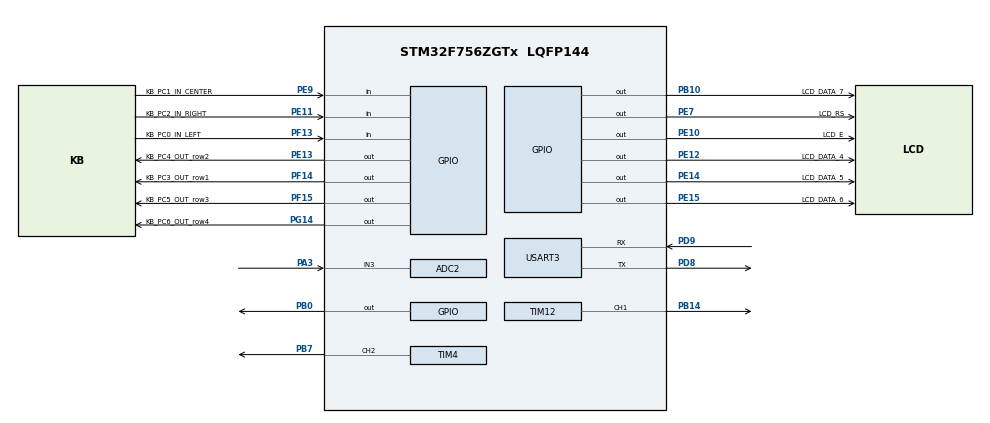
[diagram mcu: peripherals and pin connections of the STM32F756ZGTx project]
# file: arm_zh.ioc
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ADC1.Channel-0\#ChannelRegularConversion=ADC_CHANNEL_TEMPSENSOR
ADC1.NbrOfConversionFlag=1
ADC1.Rank-0\#ChannelRegularConversion=1
ADC1.SamplingTime-0\#ChannelRegularConversion=ADC_SAMPLETIME_3CYCLES
ADC1.master=1
ADC2.Channel-0\#ChannelRegularConversion=ADC_CHANNEL_3
ADC2.NbrOfConversionFlag=1
ADC2.Rank-0\#ChannelRegularConversion=1
ADC2.SamplingTime-0\#ChannelRegularConversion=ADC_SAMPLETIME_3CYCLES
Mcu.Family=STM32F7
Mcu.Name=STM32F756ZGTx
Mcu.Package=LQFP144
NVIC.PriorityGroup=NVIC_PRIORITYGROUP_4
NVIC.TIM4_IRQn=true\:0\:0\:false\:false\:true\:true\:true
NVIC.TIM8_BRK_TIM12_IRQn=true\:0\:0\:false\:false\:true\:true\:true
NVIC.USART3_IRQn=true\:0\:0\:false\:false\:true\:true\:true
PA3.Signal=ADCx_IN3
PB0.Signal=GPIO_Output
PB10.GPIO_Label=LCD_DATA_7
PB10.Signal=GPIO_Output
PB14.Signal=S_TIM12_CH1
PB7.Signal=S_TIM4_CH2
PD8.Mode=Asynchronous
PD8.Signal=USART3_TX
PD9.Mode=Asynchronous
PD9.Signal=USART3_RX
PE10.GPIO_Label=LCD_E
PE10.Signal=GPIO_Output
PE11.GPIO_Label=KB_PC2_IN_RIGHT
PE11.Signal=GPIO_Input
PE12.GPIO_Label=LCD_DATA_4
PE12.Signal=GPIO_Output
PE13.GPIO_Label=KB_PC4_OUT_row2
PE13.Signal=GPIO_Output
PE14.GPIO_Label=LCD_DATA_5
PE14.Signal=GPIO_Output
PE15.GPIO_Label=LCD_DATA_6
PE15.Signal=GPIO_Output
PE7.GPIO_Label=LCD_RS
PE7.Signal=GPIO_Output
PE9.GPIO_Label=KB_PC1_IN_CENTER
PE9.Signal=GPIO_Input
PF13.GPIO_Label=KB_PC0_IN_LEFT
PF13.Signal=GPIO_Input
PF14.GPIO_Label=KB_PC3_OUT_row1
PF14.Signal=GPIO_Output
PF15.GPIO_Label=KB_PC5_OUT_row3
PF15.Signal=GPIO_Output
PG14.GPIO_Label=KB_PC6_OUT_row4
PG14.Signal=GPIO_Output
ProjectManager.HeapSize=0x200
ProjectManager.StackSize=0x400
ProjectManager.TargetToolchain=TrueSTUDIO
RCC.HSE_VALUE=25000000
RCC.HSI_VALUE=16000000
RCC.LSE_VALUE=32768
RCC.USBFreq_Value=96000000
RCC.VCOOutputFreq_Value=192000000
SH.ADCx_IN3.0=ADC2_IN3,IN3
SH.S_TIM12_CH1.0=TIM12_CH1,PWM Generation1 CH1
SH.S_TIM4_CH2.0=TIM4_CH2,PWM Generation2 CH2
TIM12.Channel-PWM\ Generation1\ CH1=TIM_CHANNEL_1
TIM12.Period=100
TIM12.Prescaler=15
TIM12.Pulse-PWM\ Generation1\ CH1=5
TIM4.Channel-PWM\ Generation2\ CH2=TIM_CHANNEL_2
TIM4.Period=100
TIM4.Prescaler=15
TIM4.Pulse-PWM\ Generation2\ CH2=5
USART3.VirtualMode-Asynchronous=VM_ASYNC
VP_ADC1_TempSens_Input.Mode=IN-TempSens
board=custom

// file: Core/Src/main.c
/* USER CODE BEGIN Header */
/**
  ******************************************************************************
  * @file           : main.c
  * @brief          : Main program body
  ******************************************************************************
  * @attention
  *
  * <h2><center>&copy; Copyright (c) 2021 STMicroelectronics.
  * All rights reserved.</center></h2>
  *
  * This software component is licensed by ST under BSD 3-Clause license,
  * the "License"; You may not use this file except in compliance with the
  * License. You may obtain a copy of the License at:
  *                        opensource.org/licenses/BSD-3-Clause
  *
  ******************************************************************************
  */
/* USER CODE END Header */
#include "main.h"

/* USER CODE BEGIN Includes */
#include "lcd.h"
#include "matrix.h"
#include <String.h>
#include <stdlib.h>
/* USER CODE END Includes */

ADC_HandleTypeDef hadc1;
ADC_HandleTypeDef hadc2;

TIM_HandleTypeDef htim4;
TIM_HandleTypeDef htim12;

UART_HandleTypeDef huart3;

/* USER CODE BEGIN PV */
char row1[] = "P1" ;
char row2[] = "   5 6 7 8 9 0 B" ;
char row3[] = "P2" ;
char row4[] = "   5 6 7 8 9 0 B" ;

uint16_t p1_score = 0;
uint16_t p2_score = 0;

uint8_t round_score = 0;
uint8_t szorzo = 1;

uint8_t dobas = 3;

uint8_t player = 1;

uint8_t s15 = 0;
uint8_t s16 = 0;
uint8_t s17 = 0;
uint8_t s18 = 0;
uint8_t s19 = 0;
uint8_t s20 = 0;
uint8_t sb = 0;

uint8_t p1_s15 = 0;
uint8_t p1_s16 = 0;
uint8_t p1_s17 = 0;
uint8_t p1_s18 = 0;
uint8_t p1_s19 = 0;
uint8_t p1_s20 = 0;
uint8_t p1_sb = 0;

uint8_t p2_s15 = 0;
uint8_t p2_s16 = 0;
uint8_t p2_s17 = 0;
uint8_t p2_s18 = 0;
uint8_t p2_s19 = 0;
uint8_t p2_s20 = 0;
uint8_t p2_sb = 0;

/* USER CODE END PV */

void SystemClock_Config(void);
static void MX_GPIO_Init(void);
static void MX_TIM4_Init(void);
static void MX_TIM12_Init(void);
static void MX_ADC1_Init(void);
static void MX_ADC2_Init(void);
static void MX_USART3_UART_Init(void);
/* USER CODE BEGIN PFP */
void read_matrix(void){
	matrix_search();
	uint8_t key=get_key();

	if(key<12){
		switch(key){
			case 1: round_score = round_score + (15 * szorzo); s15 =s15+szorzo; dobas--; break;
			case 2: round_score = round_score + (16 * szorzo); s16 =s16+szorzo; dobas--; break;
			case 3: round_score = round_score + (17 * szorzo); s17 =s17+szorzo; dobas--; break;
			case 4: round_score = round_score + (18 * szorzo); s18 =s18+szorzo; dobas--; break;
			case 5: round_score = round_score + (19 * szorzo); s19 =s19+szorzo; dobas--; break;
			case 6: round_score = round_score + (20 * szorzo); s20 =s20+szorzo; dobas--; break;
			case 7: round_score = round_score + (25 * szorzo); sb =sb+szorzo; dobas--; break;

			case 8: szorzo = 2; break;
			case 9: szorzo = 3; break;
			default: break;
		}
	}

	if (!dobas){
		switch (player){
				case 1: p1_score = p1_score +  round_score;

				p1_s15 = p1_s15+s15; LCD_xy(3,1); LCD_num(p1_s15);
				p1_s16 = p1_s15+s16; LCD_xy(5,1); LCD_num(p1_s16);
				p1_s17 = p1_s15+s17; LCD_xy(7,1); LCD_num(p1_s17);
				p1_s18 = p1_s15+s18; LCD_xy(9,1); LCD_num(p1_s18);
				p1_s19 = p1_s15+s19; LCD_xy(11,1); LCD_num(p1_s19);
				p1_s20 = p1_s15+s20; LCD_xy(13,1); LCD_num(p1_s20);
				p1_sb = p1_s15+sb; LCD_xy(15,1); LCD_num(p1_sb);

					break;
				case 2: p2_score = p2_score +  round_score;
						p2_s15 = p2_s15+s15; LCD_xy(3,3); LCD_num(p2_s15);
						p2_s16 = p2_s15+s16; LCD_xy(5,3); LCD_num(p2_s15);
						p2_s17 = p2_s15+s17; LCD_xy(7,3); LCD_num(p2_s15);
						p2_s18 = p2_s15+s18; LCD_xy(9,3); LCD_num(p2_s15);
						p2_s19 = p2_s15+s19; LCD_xy(11,3); LCD_num(p2_s15);
						p2_s20 = p2_s15+s20; LCD_xy(13,3); LCD_num(p2_s15);
						p2_sb = p2_s15+sb; LCD_xy(15,3); LCD_num(p2_s15);

				break;
				}

		dobas = 3;
		szorzo = 1;
		round_score = 0;

		s15,s16,s17,s18,s19,s20,sb = 0;

		if(player==1){
			LCD_xy(0,2); LCD_num(p1_score);
			player = 2;
		}
		else{
			LCD_xy(0,4); LCD_num(p2_score);
			player = 1;
		}
	}

}

void HAL_TIM_PeriodElapsedCallback(TIM_HandleTypeDef *htim)
{

}

void HAL_UART_RxCpltCallback(UART_HandleTypeDef *huart)
{

}
/* USER CODE END PFP */

int main(void)
{

  /* MCU Configuration--------------------------------------------------------*/

  /* Reset of all peripherals, Initializes the Flash interface and the Systick. */
  HAL_Init();

  /* Configure the system clock */
  SystemClock_Config();

  /* Initialize all configured peripherals */
  MX_GPIO_Init();
  MX_TIM4_Init();
  MX_TIM12_Init();
  MX_ADC1_Init();
  MX_ADC2_Init();
  MX_USART3_UART_Init();
  /* USER CODE BEGIN 2 */
  LCD_init();
  LCD_cmd(0x80);

  LCD_xy(0,1); LCD_string(row1);
  LCD_xy(0,2); LCD_string(row2);
  LCD_xy(0,3); LCD_string(row3);
  LCD_xy(0,4); LCD_string(row4);
  /* USER CODE END 2 */

  /* Infinite loop */
  while (1)
  {
	  read_matrix();
  }
}

void SystemClock_Config(void)
{
  RCC_OscInitTypeDef RCC_OscInitStruct = {0};
  RCC_ClkInitTypeDef RCC_ClkInitStruct = {0};
  RCC_PeriphCLKInitTypeDef PeriphClkInitStruct = {0};

  /** Configure the main internal regulator output voltage
  */
  __HAL_RCC_PWR_CLK_ENABLE();
  __HAL_PWR_VOLTAGESCALING_CONFIG(PWR_REGULATOR_VOLTAGE_SCALE3);
  /** Initializes the RCC Oscillators according to the specified parameters
  * in the RCC_OscInitTypeDef structure.
  */
  RCC_OscInitStruct.OscillatorType = RCC_OSCILLATORTYPE_HSI;
  RCC_OscInitStruct.HSIState = RCC_HSI_ON;
  RCC_OscInitStruct.HSICalibrationValue = RCC_HSICALIBRATION_DEFAULT;
  RCC_OscInitStruct.PLL.PLLState = RCC_PLL_NONE;
  if (HAL_RCC_OscConfig(&RCC_OscInitStruct) != HAL_OK)
  {
    Error_Handler();
  }
  /** Initializes the CPU, AHB and APB buses clocks
  */
  RCC_ClkInitStruct.ClockType = RCC_CLOCKTYPE_HCLK|RCC_CLOCKTYPE_SYSCLK
                              |RCC_CLOCKTYPE_PCLK1|RCC_CLOCKTYPE_PCLK2;
  RCC_ClkInitStruct.SYSCLKSource = RCC_SYSCLKSOURCE_HSI;
  RCC_ClkInitStruct.AHBCLKDivider = RCC_SYSCLK_DIV1;
  RCC_ClkInitStruct.APB1CLKDivider = RCC_HCLK_DIV1;
  RCC_ClkInitStruct.APB2CLKDivider = RCC_HCLK_DIV1;

  if (HAL_RCC_ClockConfig(&RCC_ClkInitStruct, FLASH_LATENCY_0) != HAL_OK)
  {
    Error_Handler();
  }
  PeriphClkInitStruct.PeriphClockSelection = RCC_PERIPHCLK_USART3;
  PeriphClkInitStruct.Usart3ClockSelection = RCC_USART3CLKSOURCE_PCLK1;
  if (HAL_RCCEx_PeriphCLKConfig(&PeriphClkInitStruct) != HAL_OK)
  {
    Error_Handler();
  }
}

static void MX_ADC1_Init(void)
{

  ADC_ChannelConfTypeDef sConfig = {0};

  /** Configure the global features of the ADC (Clock, Resolution, Data Alignment and number of conversion)
  */
  hadc1.Instance = ADC1;
  hadc1.Init.ClockPrescaler = ADC_CLOCK_SYNC_PCLK_DIV2;
  hadc1.Init.Resolution = ADC_RESOLUTION_12B;
  hadc1.Init.ScanConvMode = ADC_SCAN_DISABLE;
  hadc1.Init.ContinuousConvMode = DISABLE;
  hadc1.Init.DiscontinuousConvMode = DISABLE;
  hadc1.Init.ExternalTrigConvEdge = ADC_EXTERNALTRIGCONVEDGE_NONE;
  hadc1.Init.ExternalTrigConv = ADC_SOFTWARE_START;
  hadc1.Init.DataAlign = ADC_DATAALIGN_RIGHT;
  hadc1.Init.NbrOfConversion = 1;
  hadc1.Init.DMAContinuousRequests = DISABLE;
  hadc1.Init.EOCSelection = ADC_EOC_SINGLE_CONV;
  if (HAL_ADC_Init(&hadc1) != HAL_OK)
  {
    Error_Handler();
  }
  /** Configure for the selected ADC regular channel its corresponding rank in the sequencer and its sample time.
  */
  sConfig.Channel = ADC_CHANNEL_TEMPSENSOR;
  sConfig.Rank = ADC_REGULAR_RANK_1;
  sConfig.SamplingTime = ADC_SAMPLETIME_3CYCLES;
  if (HAL_ADC_ConfigChannel(&hadc1, &sConfig) != HAL_OK)
  {
    Error_Handler();
  }

}

static void MX_ADC2_Init(void)
{

  ADC_ChannelConfTypeDef sConfig = {0};

  /** Configure the global features of the ADC (Clock, Resolution, Data Alignment and number of conversion)
  */
  hadc2.Instance = ADC2;
  hadc2.Init.ClockPrescaler = ADC_CLOCK_SYNC_PCLK_DIV2;
  hadc2.Init.Resolution = ADC_RESOLUTION_12B;
  hadc2.Init.ScanConvMode = ADC_SCAN_DISABLE;
  hadc2.Init.ContinuousConvMode = DISABLE;
  hadc2.Init.DiscontinuousConvMode = DISABLE;
  hadc2.Init.ExternalTrigConvEdge = ADC_EXTERNALTRIGCONVEDGE_NONE;
  hadc2.Init.ExternalTrigConv = ADC_SOFTWARE_START;
  hadc2.Init.DataAlign = ADC_DATAALIGN_RIGHT;
  hadc2.Init.NbrOfConversion = 1;
  hadc2.Init.DMAContinuousRequests = DISABLE;
  hadc2.Init.EOCSelection = ADC_EOC_SINGLE_CONV;
  if (HAL_ADC_Init(&hadc2) != HAL_OK)
  {
    Error_Handler();
  }
  /** Configure for the selected ADC regular channel its corresponding rank in the sequencer and its sample time.
  */
  sConfig.Channel = ADC_CHANNEL_3;
  sConfig.Rank = ADC_REGULAR_RANK_1;
  sConfig.SamplingTime = ADC_SAMPLETIME_3CYCLES;
  if (HAL_ADC_ConfigChannel(&hadc2, &sConfig) != HAL_OK)
  {
    Error_Handler();
  }

}

static void MX_TIM4_Init(void)
{

  TIM_MasterConfigTypeDef sMasterConfig = {0};
  TIM_OC_InitTypeDef sConfigOC = {0};

  htim4.Instance = TIM4;
  htim4.Init.Prescaler = 15;
  htim4.Init.CounterMode = TIM_COUNTERMODE_UP;
  htim4.Init.Period = 100;
  htim4.Init.ClockDivision = TIM_CLOCKDIVISION_DIV1;
  htim4.Init.AutoReloadPreload = TIM_AUTORELOAD_PRELOAD_DISABLE;
  if (HAL_TIM_PWM_Init(&htim4) != HAL_OK)
  {
    Error_Handler();
  }
  sMasterConfig.MasterOutputTrigger = TIM_TRGO_RESET;
  sMasterConfig.MasterSlaveMode = TIM_MASTERSLAVEMODE_DISABLE;
  if (HAL_TIMEx_MasterConfigSynchronization(&htim4, &sMasterConfig) != HAL_OK)
  {
    Error_Handler();
  }
  sConfigOC.OCMode = TIM_OCMODE_PWM1;
  sConfigOC.Pulse = 5;
  sConfigOC.OCPolarity = TIM_OCPOLARITY_HIGH;
  sConfigOC.OCFastMode = TIM_OCFAST_DISABLE;
  if (HAL_TIM_PWM_ConfigChannel(&htim4, &sConfigOC, TIM_CHANNEL_2) != HAL_OK)
  {
    Error_Handler();
  }
  HAL_TIM_MspPostInit(&htim4);

}

static void MX_TIM12_Init(void)
{

  TIM_OC_InitTypeDef sConfigOC = {0};

  htim12.Instance = TIM12;
  htim12.Init.Prescaler = 15;
  htim12.Init.CounterMode = TIM_COUNTERMODE_UP;
  htim12.Init.Period = 100;
  htim12.Init.ClockDivision = TIM_CLOCKDIVISION_DIV1;
  htim12.Init.AutoReloadPreload = TIM_AUTORELOAD_PRELOAD_DISABLE;
  if (HAL_TIM_PWM_Init(&htim12) != HAL_OK)
  {
    Error_Handler();
  }
  sConfigOC.OCMode = TIM_OCMODE_PWM1;
  sConfigOC.Pulse = 5;
  sConfigOC.OCPolarity = TIM_OCPOLARITY_HIGH;
  sConfigOC.OCFastMode = TIM_OCFAST_DISABLE;
  if (HAL_TIM_PWM_ConfigChannel(&htim12, &sConfigOC, TIM_CHANNEL_1) != HAL_OK)
  {
    Error_Handler();
  }
  HAL_TIM_MspPostInit(&htim12);

}

static void MX_USART3_UART_Init(void)
{

  huart3.Instance = USART3;
  huart3.Init.BaudRate = 115200;
  huart3.Init.WordLength = UART_WORDLENGTH_8B;
  huart3.Init.StopBits = UART_STOPBITS_1;
  huart3.Init.Parity = UART_PARITY_NONE;
  huart3.Init.Mode = UART_MODE_TX_RX;
  huart3.Init.HwFlowCtl = UART_HWCONTROL_NONE;
  huart3.Init.OverSampling = UART_OVERSAMPLING_16;
  huart3.Init.OneBitSampling = UART_ONE_BIT_SAMPLE_DISABLE;
  huart3.AdvancedInit.AdvFeatureInit = UART_ADVFEATURE_NO_INIT;
  if (HAL_UART_Init(&huart3) != HAL_OK)
  {
    Error_Handler();
  }

}

static void MX_GPIO_Init(void)
{
  GPIO_InitTypeDef GPIO_InitStruct = {0};

  /* GPIO Ports Clock Enable */
  __HAL_RCC_GPIOA_CLK_ENABLE();
  __HAL_RCC_GPIOB_CLK_ENABLE();
  __HAL_RCC_GPIOF_CLK_ENABLE();
  __HAL_RCC_GPIOE_CLK_ENABLE();
  __HAL_RCC_GPIOD_CLK_ENABLE();
  __HAL_RCC_GPIOG_CLK_ENABLE();

  /*Configure GPIO pin Output Level */
  HAL_GPIO_WritePin(GPIOB, GPIO_PIN_0|LCD_DATA_7_Pin, GPIO_PIN_RESET);

  /*Configure GPIO pin Output Level */
  HAL_GPIO_WritePin(GPIOF, KB_PC3_OUT_row1_Pin|KB_PC5_OUT_row3_Pin, GPIO_PIN_RESET);

  /*Configure GPIO pin Output Level */
  HAL_GPIO_WritePin(GPIOE, LCD_RS_Pin|LCD_E_Pin|LCD_DATA_4_Pin|KB_PC4_OUT_row2_Pin
                          |LCD_DATA_5_Pin|LCD_DATA_6_Pin, GPIO_PIN_RESET);

  /*Configure GPIO pin Output Level */
  HAL_GPIO_WritePin(KB_PC6_OUT_row4_GPIO_Port, KB_PC6_OUT_row4_Pin, GPIO_PIN_RESET);

  /*Configure GPIO pins : PB0 LCD_DATA_7_Pin */
  GPIO_InitStruct.Pin = GPIO_PIN_0|LCD_DATA_7_Pin;
  GPIO_InitStruct.Mode = GPIO_MODE_OUTPUT_PP;
  GPIO_InitStruct.Pull = GPIO_NOPULL;
  GPIO_InitStruct.Speed = GPIO_SPEED_FREQ_LOW;
  HAL_GPIO_Init(GPIOB, &GPIO_InitStruct);

  /*Configure GPIO pin : KB_PC0_IN_LEFT_Pin */
  GPIO_InitStruct.Pin = KB_PC0_IN_LEFT_Pin;
  GPIO_InitStruct.Mode = GPIO_MODE_INPUT;
  GPIO_InitStruct.Pull = GPIO_NOPULL;
  HAL_GPIO_Init(KB_PC0_IN_LEFT_GPIO_Port, &GPIO_InitStruct);

  /*Configure GPIO pins : KB_PC3_OUT_row1_Pin KB_PC5_OUT_row3_Pin */
  GPIO_InitStruct.Pin = KB_PC3_OUT_row1_Pin|KB_PC5_OUT_row3_Pin;
  GPIO_InitStruct.Mode = GPIO_MODE_OUTPUT_PP;
  GPIO_InitStruct.Pull = GPIO_NOPULL;
  GPIO_InitStruct.Speed = GPIO_SPEED_FREQ_LOW;
  HAL_GPIO_Init(GPIOF, &GPIO_InitStruct);

  /*Configure GPIO pins : LCD_RS_Pin LCD_E_Pin LCD_DATA_4_Pin KB_PC4_OUT_row2_Pin
                           LCD_DATA_5_Pin LCD_DATA_6_Pin */
  GPIO_InitStruct.Pin = LCD_RS_Pin|LCD_E_Pin|LCD_DATA_4_Pin|KB_PC4_OUT_row2_Pin
                          |LCD_DATA_5_Pin|LCD_DATA_6_Pin;
  GPIO_InitStruct.Mode = GPIO_MODE_OUTPUT_PP;
  GPIO_InitStruct.Pull = GPIO_NOPULL;
  GPIO_InitStruct.Speed = GPIO_SPEED_FREQ_LOW;
  HAL_GPIO_Init(GPIOE, &GPIO_InitStruct);

  /*Configure GPIO pins : KB_PC1_IN_CENTER_Pin KB_PC2_IN_RIGHT_Pin */
  GPIO_InitStruct.Pin = KB_PC1_IN_CENTER_Pin|KB_PC2_IN_RIGHT_Pin;
  GPIO_InitStruct.Mode = GPIO_MODE_INPUT;
  GPIO_InitStruct.Pull = GPIO_NOPULL;
  HAL_GPIO_Init(GPIOE, &GPIO_InitStruct);

  /*Configure GPIO pin : KB_PC6_OUT_row4_Pin */
  GPIO_InitStruct.Pin = KB_PC6_OUT_row4_Pin;
  GPIO_InitStruct.Mode = GPIO_MODE_OUTPUT_PP;
  GPIO_InitStruct.Pull = GPIO_NOPULL;
  GPIO_InitStruct.Speed = GPIO_SPEED_FREQ_LOW;
  HAL_GPIO_Init(KB_PC6_OUT_row4_GPIO_Port, &GPIO_InitStruct);

}

void Error_Handler(void)
{
  __disable_irq();
  while (1)
  {
  }
}

/************************ (C) COPYRIGHT STMicroelectronics *****END OF FILE****/
